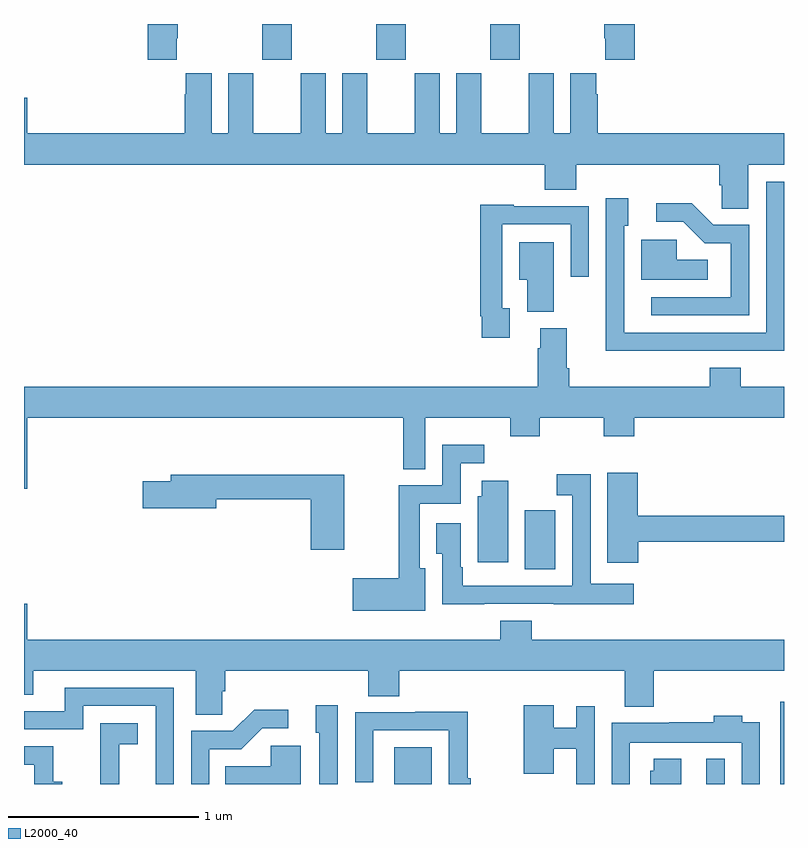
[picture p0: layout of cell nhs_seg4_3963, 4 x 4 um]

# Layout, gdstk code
import gdstk
lib = gdstk.Library(unit=1e-6, precision=1e-09)
def R(c, l, rs):  # rectangles x0, y0, x1, y1
    for r in rs: c.add(gdstk.rectangle(r[:2], r[2:], *l))
def A(c, l, x, y, w, h, nx, ny, dx, dy):  # array of equal rectangles
    R(c, l, [(x+i*dx, y+j*dy, x+i*dx+w, y+j*dy+h) for i in range(nx) for j in range(ny)])
def P(c, l, *ps):  # polygons
    for p in ps: c.add(gdstk.Polygon(p, *l))
L2000_40 = (2000, 40)

nhs_seg4_3963 = lib.new_cell('nhs_seg4_3963')
A(nhs_seg4_3963, L2000_40, 322.255, 790.713, 0.155, 0.187, 3, 1, 0.6, 0)
R(nhs_seg4_3963, L2000_40, [(322.949,786.9,323.146,787.093), (324.59,786.9,324.687,787.033), (324.98,786.9,325,787.333), (323.636,788.029,323.797,788.34)])
P(nhs_seg4_3963, L2000_40, [(324.215,790.9),(324.055,790.9),(324.055,790.825),(324.059,790.825),(324.059,790.713),(324.215,790.713)],
  [(321.805,790.825),(321.81,790.825),(321.81,790.9),(321.65,790.9),(321.65,790.713),(321.805,790.713)],
  [(322.457,790.642),(322.457,790.324),(322.207,790.324),(322.207,790.642),(322.076,790.642),(322.076,790.324),(321.988,790.324),(321.988,790.642),(321.851,790.642),(321.851,790.529),(321.845,790.529),(321.845,790.324),(321.016,790.324),(321.016,790.513),(321,790.513),(321,790.16),(323.741,790.16),(323.741,790.027),(323.906,790.027),(323.906,790.16),(324.659,790.16),(324.659,790.051),(324.672,790.051),(324.672,789.928),(324.811,789.928),(324.811,790.16),(325,790.16),(325,790.324),(324.02,790.324),(324.02,790.529),(324.013,790.529),(324.013,790.642),(323.876,790.642),(323.876,790.324),(323.788,790.324),(323.788,790.642),(323.657,790.642),(323.657,790.324),(323.407,790.324),(323.407,790.642),(323.276,790.642),(323.276,790.324),(323.188,790.324),(323.188,790.642),(323.057,790.642),(323.057,790.324),(322.807,790.324),(322.807,790.642),(322.676,790.642),(322.676,790.324),(322.588,790.324),(322.588,790.642)],
  [(324.524,789.18),(325,789.18),(325,790.071),(324.906,790.071),(324.906,789.276),(324.159,789.276),(324.159,789.837),(324.181,789.837),(324.181,789.982),(324.063,789.982),(324.063,789.482),(324.062,789.482),(324.062,789.179),(324.524,789.179)],
  [(324.816,789.843),(324.627,789.843),(324.514,789.956),(324.327,789.956),(324.327,789.858),(324.471,789.858),(324.582,789.747),(324.72,789.747),(324.72,789.462),(324.3,789.462),(324.3,789.366),(324.816,789.366)],
  [(323.557,789.405),(323.517,789.405),(323.517,789.846),(323.877,789.846),(323.877,789.57),(323.973,789.57),(323.973,789.942),(323.577,789.942),(323.577,789.949),(323.401,789.949),(323.401,789.361),(323.409,789.361),(323.409,789.249),(323.557,789.249)],
  [(324.598,789.658),(324.435,789.658),(324.435,789.765),(324.248,789.765),(324.248,789.554),(324.598,789.554)],
  [(323.788,789.751),(323.606,789.751),(323.606,789.554),(323.648,789.554),(323.648,789.385),(323.788,789.385)],
  [(321.016,788.828),(322.995,788.828),(322.995,788.557),(323.113,788.557),(323.113,788.828),(323.56,788.828),(323.56,788.729),(323.715,788.729),(323.715,788.828),(324.052,788.828),(324.052,788.729),(324.212,788.729),(324.212,788.828),(325,788.828),(325,788.992),(324.773,788.992),(324.773,789.091),(324.608,789.091),(324.608,788.992),(323.87,788.992),(323.87,789.088),(323.857,789.088),(323.857,789.3),(323.717,789.3),(323.717,789.194),(323.705,789.194),(323.705,788.992),(321,788.992),(321,788.454),(321.016,788.454)],
  [(323.113,788.035),(323.083,788.035),(323.083,788.376),(323.298,788.376),(323.298,788.589),(323.422,788.589),(323.422,788.686),(323.202,788.686),(323.202,788.472),(322.972,788.472),(322.972,787.982),(322.731,787.982),(322.731,787.811),(323.113,787.811)],
  [(324.232,788.176),(325,788.176),(325,788.312),(324.23,788.312),(324.23,788.539),(324.071,788.539),(324.071,788.064),(324.232,788.064)],
  [(323.423,787.848),(323.789,787.848),(323.789,787.847),(324.208,787.847),(324.208,787.954),(323.982,787.954),(323.982,788.53),(323.805,788.53),(323.805,788.421),(323.886,788.421),(323.886,787.944),(323.31,787.944),(323.31,788.041),(323.298,788.041),(323.298,788.272),(323.171,788.272),(323.171,788.113),(323.202,788.113),(323.202,787.847),(323.423,787.847)],
  [(322.686,788.527),(321.773,788.527),(321.773,788.493),(321.624,788.493),(321.624,788.351),(322.012,788.351),(322.012,788.398),(322.508,788.398),(322.508,788.133),(322.686,788.133)],
  [(323.548,788.497),(323.408,788.497),(323.408,788.415),(323.387,788.415),(323.387,788.067),(323.548,788.067)],
  [(322.044,787.387),(322.058,787.387),(322.058,787.496),(322.811,787.496),(322.811,787.363),(322.976,787.363),(322.976,787.496),(324.161,787.496),(324.161,787.307),(324.314,787.307),(324.314,787.496),(325,787.496),(325,787.66),(323.672,787.66),(323.672,787.759),(323.507,787.759),(323.507,787.66),(321.016,787.66),(321.016,787.849),(321,787.849),(321,787.369),(321.049,787.369),(321.049,787.496),(321.905,787.496),(321.905,787.264),(322.044,787.264)],
  [(321.789,787.407),(321.215,787.407),(321.215,787.284),(321,787.284),(321,787.188),(321.312,787.188),(321.312,787.311),(321.693,787.311),(321.693,786.9),(321.789,786.9)],
  [(322.65,787.315),(322.535,787.315),(322.535,787.17),(322.554,787.17),(322.554,786.9),(322.65,786.9)],
  [(324.003,787.309),(323.907,787.309),(323.907,787.195),(323.788,787.195),(323.788,787.315),(323.63,787.315),(323.63,786.954),(323.788,786.954),(323.788,787.085),(323.907,787.085),(323.907,786.9),(324.003,786.9)],
  [(321.975,787.083),(322.144,787.083),(322.255,787.194),(322.39,787.194),(322.39,787.292),(322.211,787.292),(322.098,787.179),(321.879,787.179),(321.879,786.9),(321.975,786.9)],
  [(323.351,786.929),(323.336,786.929),(323.336,787.28),(323.059,787.28),(323.059,787.278),(322.743,787.278),(322.743,786.909),(322.839,786.909),(322.839,787.182),(323.235,787.182),(323.235,786.9),(323.351,786.9)],
  [(324.189,787.118),(324.777,787.118),(324.777,786.9),(324.873,786.9),(324.873,787.225),(324.781,787.225),(324.781,787.258),(324.629,787.258),(324.629,787.225),(324.397,787.225),(324.397,787.222),(324.093,787.222),(324.093,786.9),(324.189,786.9)],
  [(321.5,787.109),(321.598,787.109),(321.598,787.219),(321.4,787.219),(321.4,787.013),(321.401,787.013),(321.401,786.9),(321.5,786.9)],
  [(322.456,787.102),(322.299,787.102),(322.299,786.994),(322.06,786.994),(322.06,786.9),(322.456,786.9)],
  [(321.202,786.913),(321.153,786.913),(321.153,787.098),(321,787.098),(321,787.002),(321.054,787.002),(321.054,786.9),(321.202,786.9)],
  [(324.46,787.033),(324.314,787.033),(324.314,786.969),(324.296,786.969),(324.296,786.9),(324.46,786.9)])

lib.write_gds('nhs_seg4_3963.gds')
